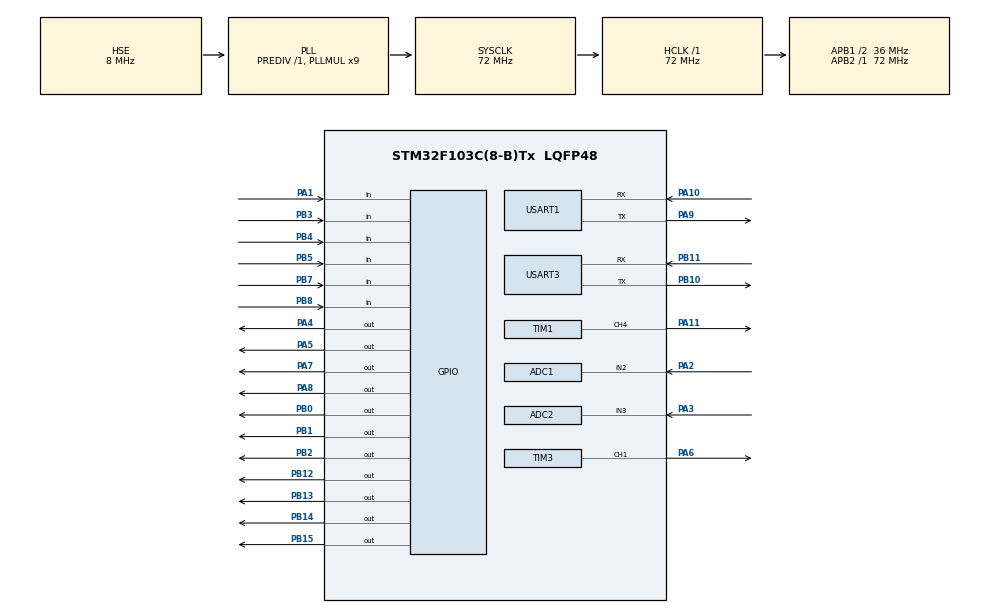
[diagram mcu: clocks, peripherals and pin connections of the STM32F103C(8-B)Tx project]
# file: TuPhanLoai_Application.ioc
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ADC1.Channel-3\#ChannelRegularConversion=ADC_CHANNEL_2
ADC1.ContinuousConvMode=ENABLE
ADC1.NbrOfConversionFlag=1
ADC1.Rank-3\#ChannelRegularConversion=1
ADC1.SamplingTime-3\#ChannelRegularConversion=ADC_SAMPLETIME_239CYCLES_5
ADC1.master=1
ADC2.Channel-2\#ChannelRegularConversion=ADC_CHANNEL_3
ADC2.ContinuousConvMode=ENABLE
ADC2.NbrOfConversionFlag=1
ADC2.Rank-2\#ChannelRegularConversion=1
ADC2.SamplingTime-2\#ChannelRegularConversion=ADC_SAMPLETIME_239CYCLES_5
Dma.Request0=USART1_RX
Dma.USART1_RX.0.Direction=DMA_PERIPH_TO_MEMORY
Dma.USART1_RX.0.Instance=DMA1_Channel5
Dma.USART1_RX.0.MemDataAlignment=DMA_MDATAALIGN_BYTE
Dma.USART1_RX.0.MemInc=DMA_MINC_ENABLE
Dma.USART1_RX.0.Mode=DMA_NORMAL
Dma.USART1_RX.0.PeriphDataAlignment=DMA_PDATAALIGN_BYTE
Dma.USART1_RX.0.PeriphInc=DMA_PINC_DISABLE
Dma.USART1_RX.0.Priority=DMA_PRIORITY_LOW
Mcu.Family=STM32F1
Mcu.Name=STM32F103C(8-B)Tx
Mcu.Package=LQFP48
NVIC.DMA1_Channel5_IRQn=true\:0\:0\:false\:false\:true\:false\:true\:true
NVIC.PriorityGroup=NVIC_PRIORITYGROUP_4
NVIC.TIM3_IRQn=true\:0\:0\:false\:false\:true\:true\:true\:true
NVIC.USART1_IRQn=true\:1\:0\:true\:false\:true\:true\:true\:true
PA1.Signal=GPIO_Input
PA10.Mode=Asynchronous
PA10.Signal=USART1_RX
PA11.Signal=S_TIM1_CH4
PA13.Mode=Serial_Wire
PA13.Signal=SYS_JTMS-SWDIO
PA14.Mode=Serial_Wire
PA14.Signal=SYS_JTCK-SWCLK
PA2.Signal=ADCx_IN2
PA3.Signal=ADCx_IN3
PA4.Signal=GPIO_Output
PA5.Signal=GPIO_Output
PA6.Signal=S_TIM3_CH1
PA7.GPIO_PuPd=GPIO_PULLUP
PA7.Signal=GPIO_Output
PA8.Signal=GPIO_Output
PA9.Mode=Asynchronous
PA9.Signal=USART1_TX
PB0.Signal=GPIO_Output
PB1.Signal=GPIO_Output
PB10.Mode=Asynchronous
PB10.Signal=USART3_TX
PB11.Mode=Asynchronous
PB11.Signal=USART3_RX
PB12.Signal=GPIO_Output
PB13.Signal=GPIO_Output
PB14.GPIO_PuPd=GPIO_PULLUP
PB14.Signal=GPIO_Output
PB15.GPIO_PuPd=GPIO_PULLUP
PB15.Signal=GPIO_Output
PB2.Signal=GPIO_Output
PB3.GPIO_PuPd=GPIO_PULLDOWN
PB3.Signal=GPIO_Input
PB4.GPIO_PuPd=GPIO_PULLDOWN
PB4.Signal=GPIO_Input
PB5.GPIO_PuPd=GPIO_PULLDOWN
PB5.Signal=GPIO_Input
PB7.GPIO_PuPd=GPIO_PULLDOWN
PB7.Signal=GPIO_Input
PB8.GPIO_PuPd=GPIO_PULLDOWN
PB8.Signal=GPIO_Input
PD0-OSC_IN.Mode=HSE-External-Oscillator
PD0-OSC_IN.Signal=RCC_OSC_IN
PD1-OSC_OUT.Mode=HSE-External-Oscillator
PD1-OSC_OUT.Signal=RCC_OSC_OUT
ProjectManager.HeapSize=0x200
ProjectManager.StackSize=0x400
ProjectManager.TargetToolchain=MDK-ARM V5.32
RCC.ADCPresc=RCC_ADCPCLK2_DIV6
RCC.AHBFreq_Value=72000000
RCC.APB1CLKDivider=RCC_HCLK_DIV2
RCC.APB1Freq_Value=36000000
RCC.APB1TimFreq_Value=72000000
RCC.APB2Freq_Value=72000000
RCC.APB2TimFreq_Value=72000000
RCC.HCLKFreq_Value=72000000
RCC.PLLMUL=RCC_PLL_MUL9
RCC.PLLSourceVirtual=RCC_PLLSOURCE_HSE
RCC.SYSCLKFreq_VALUE=72000000
RCC.SYSCLKSource=RCC_SYSCLKSOURCE_PLLCLK
RCC.USBFreq_Value=72000000
SH.ADCx_IN2.0=ADC1_IN2,IN2
SH.ADCx_IN3.0=ADC2_IN3,IN3
SH.S_TIM1_CH4.0=TIM1_CH4,PWM Generation4 CH4
SH.S_TIM3_CH1.0=TIM3_CH1,PWM Generation1 CH1
TIM1.Channel-PWM\ Generation4\ CH4=TIM_CHANNEL_4
TIM3.Channel-PWM\ Generation1\ CH1=TIM_CHANNEL_1
USART1.VirtualMode=VM_ASYNC
USART3.VirtualMode=VM_ASYNC
board=custom

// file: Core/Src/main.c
/* USER CODE BEGIN Header */
/**
  ******************************************************************************
  * @file           : main.c
  * @brief          : Main program body
  ******************************************************************************
  * @attention
  *
  * Copyright (c) 2024 STMicroelectronics.
  * All rights reserved.
  *
  * This software is licensed under terms that can be found in the LICENSE file
  * in the root directory of this software component.
  * If no LICENSE file comes with this software, it is provided AS-IS.
  *
  ******************************************************************************
  */
/* USER CODE END Header */
#include "main.h"

/* USER CODE BEGIN Includes */
#include "BSP_Step.h"
#include "BTS7960_driver.h"
#include "led5050.h"
#include "Sensor.h"
#include "BSP_UART.h"
#include "stdbool.h"
#include "stdio.h"
#define SETP_TOCDO_COGIAMTOC 14*15
/* USER CODE END Includes */

ADC_HandleTypeDef hadc1;
ADC_HandleTypeDef hadc2;

TIM_HandleTypeDef htim1;
TIM_HandleTypeDef htim3;

UART_HandleTypeDef huart1;
UART_HandleTypeDef huart3;
DMA_HandleTypeDef hdma_usart1_rx;

void SystemClock_Config(void);
static void MX_GPIO_Init(void);
static void MX_DMA_Init(void);
static void MX_USART1_UART_Init(void);
static void MX_TIM1_Init(void);
static void MX_TIM3_Init(void);
static void MX_ADC1_Init(void);
static void MX_ADC2_Init(void);
static void MX_USART3_UART_Init(void);

/* USER CODE BEGIN 0 */
uint8_t step = 0;
int countBottle = 0;
int countCan = 0;
uint32_t Timer_Count = 0, Step7_Timer_Count = 0;
uint32_t Prev_Timer_Count = 0, Step7_Prev_Timer_Count = 0;
int ErrorCount = 0;
uint32_t DC_Driver_CurTime = 0;
uint32_t DC_Driver_PrevTime = 0;
bool DC_Driver_Go_Middle = false;
bool UART_Available = false;
bool CanOrBottle = false;
bool HanhTrinhStep = false;
bool DC_OPERATING = false;
float checkADC =0, checkADC2=0;
bool test0 = false, test1 = false;
uint8_t data_rx[22];

void HAL_UART_RxCpltCallback(UART_HandleTypeDef *huart) {
	if (huart->Instance == huart1.Instance) {
		HAL_UART_Receive_IT(&huart1, data_rx, 22);
	}
}

uint8_t checkLength(void) {
	if(data_rx[6] == 'P' && data_rx[7] == 'L') {
		return 8;
	}
	else {
		return 22;
	}
}

void resetDataRx(void) {
	for(int i = 0; i < 22; i++) {
		data_rx[i] = 0;
	}
}

/* USER CODE END 0 */

int main(void)
{

  /* MCU Configuration--------------------------------------------------------*/

  /* Reset of all peripherals, Initializes the Flash interface and the Systick. */
  HAL_Init();

  /* USER CODE BEGIN Init */
	Timer_Count = HAL_GetTick();
  /* USER CODE END Init */

  /* Configure the system clock */
  SystemClock_Config();

  /* Initialize all configured peripherals */
  MX_GPIO_Init();
  MX_DMA_Init();
  MX_USART1_UART_Init();
  MX_TIM1_Init();
  MX_TIM3_Init();
  MX_ADC1_Init();
  MX_ADC2_Init();
  MX_USART3_UART_Init();
  /* USER CODE BEGIN 2 */
	STEP_GPIO_Init();
	STEP_PUL_Init(&htim3, 20);

	set_StepRotateAngle(90);
//	set_StepSpeed(&htim3, 10);
	change_StepDirect(CW);

	DC_Driver_PWM_Init();
	DC_Driver_SetDir(CLOCKWISE);
	DC_Driver_SetSpeed(80);
	HAL_UART_Receive_IT(&huart1, data_rx, 22);
	STEP_Enable();
  /* USER CODE END 2 */

  /* Infinite loop */
  while (1)
  {

    /* USER CODE BEGIN 3 */
    switch(step) {
				case 0:
						DC_Driver_Stop();
						DC_Driver_SetDir(CLOCKWISE);
						STEP_Disable();

						HAL_GPIO_WritePin(GPIOB, GPIO_PIN_13, GPIO_PIN_RESET);

						//Renew information
						ErrorCount = 0;
						countBottle = 0;
						countCan = 0;
						Timer_Count = 0;

						DC_Driver_Go_Middle = false;
						HanhTrinhStep = false;

						Led_All_Off();
						HAL_Delay(200);

//						if(test0 == false) {
//								step = 1;
//						}
						if (data_rx[0] == 'T' && data_rx[1] == 'D' && data_rx[6] == 'P' && data_rx[7] == 'L') {
							if (data_rx[2] == '0' && data_rx[3] == '1' && data_rx[4] == '1' && data_rx[5] == '1' ) {
								step = 1;
							}
						}
						break;

				case 1:
					//STEP
					STEP_Enable();
					//DC Motor
					for(uint8_t i = 0; i < 8 ; i++) {
									data_rx[i] = 0;
					}
						change_StepDirect(CW);
						goHomeStep(&htim3);

					DC_Driver_Go_Middle = false;
					DC_Driver_Stop();
					DC_Driver_SetDir(CLOCKWISE);
//					if(HAL_GPIO_ReadPin(GPIOB, GPIO_PIN_8) == 0)
//					{
//						goHomeStep(&htim3);
//					}
					//UART
					UART_Available = false;

				  //LED
//					HAL_GPIO_WritePin(GPIOB, GPIO_PIN_13, GPIO_PIN_SET);//BAT_DEN_VONG_CAMERA;
					Led_Red_Off();
					Led_Yellow_Off();
					Led_Green_On();

					while(UART_Available == false) {
						Timer_Count = HAL_GetTick();
						checkADC=Read_ADC_Value(2);
						checkADC2=Read_ADC_Value(1);
						if(HAL_GPIO_ReadPin(GPIOB,GPIO_PIN_8) == 1){
							stop_Step(&htim3);
						}

						if(Read_ADC_Value(2) >= 1.7) {
							HAL_Delay(1000);
							if(Read_ADC_Value(2) >= 1.7) {
								step = 2;
								UART_Available = true;
							}
						}
						else if((Timer_Count - Prev_Timer_Count > 30000) && (countBottle != 0 || countCan != 0)) {
							Prev_Timer_Count = Timer_Count;
							step = 6;
//							for(uint8_t i = 0; i < 8 ; i++) {
//								data_rx[i] = 0;
//							}
							UART_Available = true;
						}
						else if ((Timer_Count - Prev_Timer_Count > 30000) && countCan == 0 && countBottle == 0) {
							Prev_Timer_Count = Timer_Count;
							step = 0;
//							for(uint8_t i = 0; i < 8 ; i++) {
//								data_rx[i] = 0;
//							}
							UART_Available = true;
						}
						else if(data_rx[0] == 'T' && data_rx[1] == 'D' && data_rx[6] == 'P' && data_rx[7] == 'L') {
							if (data_rx[2] == '1' && data_rx[3] == '2' && data_rx[4] == '1' && data_rx[5] == '1' ) {
								step = 6;
//								for(uint8_t i = 0; i < 8 ; i++) {
//									data_rx[i] = 0;
//								}
								UART_Available = true;
							}
						}
					}
					break;

				case 2:
						UART_Available = false;
						Led_Green_Off();
						Led_Yellow_On();
//						UART_sendTakePictureRequest(&huart1);
						if(Read_Sensor(3)) { // sensor capacitor
							HAL_Delay(50);
							if(Read_Sensor(3)) {
							step = 3;
							countCan++;
							CanOrBottle = true;
							}
							} else {
							HAL_Delay(50);
							step = 3;
							countBottle++;
							CanOrBottle = false;
						}

						//if() {
						//  step = 7;//error
						//}
						break;

				case 3:
						DC_Driver_Run();
						DC_OPERATING = true;
						DC_Driver_CurTime = HAL_GetTick();
						DC_Driver_PrevTime = DC_Driver_CurTime;
						while(DC_OPERATING == true) {
							DC_Driver_CurTime = HAL_GetTick();
							while(DC_Driver_Go_Middle == false){
								checkADC=Read_ADC_Value(2);
								checkADC2=Read_ADC_Value(1);
								if(Read_ADC_Value(2) < 1.7) {
									HAL_Delay(50);
									if(Read_ADC_Value(2) < 1.7) {
										HAL_Delay(750);
										DC_Driver_Go_Middle = true;
									}
								}
							}

							if(Read_ADC_Value(1) >= 1.7) {
								HAL_Delay(50);
								if(Read_ADC_Value(1) >= 1.7) {
										step = 4;
										DC_Driver_PrevTime = DC_Driver_CurTime;
										DC_OPERATING = false;
								}
							}

							if(Read_ADC_Value(2) >= 1.7) {
								HAL_Delay(2);
								if(Read_ADC_Value(2) >= 1.7) {
									step = 7;
									DC_OPERATING = false;
								}
							}

							if(DC_Driver_CurTime - DC_Driver_PrevTime >= DC_TIMEOUT) {
								step = 7;
								DC_Driver_PrevTime = DC_Driver_CurTime;
								DC_OPERATING = false;
							}
						}
						break;

				case 4:
						HAL_Delay(150);
						DC_Driver_Stop();
						if(CanOrBottle)
						{
							change_StepDirect(CW);
							set_StepRotateAngle(90);
//							do{
//								DC_Driver_Run();
//							}while(Read_ADC_Value(1) >= 1.7);
							run_Step(&htim3);
							HAL_Delay(500);
//							DC_Driver_Stop();
							step = 5;
						}
						else
						{
							change_StepDirect(CW);
							set_StepRotateAngle(90);
							do{
								DC_Driver_Run();
							}while(Read_ADC_Value(1) >= 1.7);
							HAL_Delay(2000);
							DC_Driver_Stop();
							//run_Step(&htim3);
							HAL_Delay(1000);
							step = 5;
						}
						break;

				case 5:
						//UART_sendCompleteStatus(&huart1, countBottle, countCan, ErrorCount); //GUI_TIN_HIEU_UPDATE_GIAO_DIEN;
						if(CanOrBottle) {
							HAL_UART_Transmit(&huart1,(uint8_t *)"TD3111PL" , 8, 100);
						}
						else if (CanOrBottle == false) {
							HAL_UART_Transmit(&huart1, (uint8_t *)"TD3000PL", 8, 100);
						}
						Prev_Timer_Count = HAL_GetTick();
						HAL_Delay(1000);
						Led_All_Off();
						step = 1;
						break;

				case 6:
						Led_All_Off();
						step = 0;
						break;

				case 7:
						Led_Yellow_Off();
						Led_Red_On();
						UART_sendErrorInfor(&huart1); //GUI_TIN_HIEU_CANH_BAO_VE_MAY_TINH;
						HAL_UART_Transmit(&huart1, (uint8_t *)"TD7111PL", 8, 100);
						DC_Driver_SetDir(COUNTERCLOCKWISE);
						DC_Driver_Run();

						//Update timer timeout
						Step7_Prev_Timer_Count = HAL_GetTick();
						Step7_Timer_Count = Step7_Prev_Timer_Count;

						while(UART_Available == false) {
							Step7_Timer_Count = HAL_GetTick();
							if(data_rx[0] == 'T' && data_rx[1] == 'D' && data_rx[6] == 'P' && data_rx[7] == 'L') {
								if(data_rx[2] == '0' && data_rx[3] == '1' && data_rx[4] == '1' && data_rx[5] == '1' ) {
									step = 1;
									ErrorCount++;
									UART_Available = true;
								}
							}

							else if(data_rx[0] == 'T' && data_rx[1] == 'D' && data_rx[6] == 'P' && data_rx[7] == 'L') {
								if(data_rx[2] == '1' && data_rx[3] == '2' && data_rx[4] == '1' && data_rx[5] == '1' ) {
									step = 0;
									UART_Available = true;
								}
							}

							else if (Step7_Timer_Count - Step7_Prev_Timer_Count > 15000) {
								step = 1;
								UART_Available = true;
							}
						}
					break;

				case 8:
					break;

				default:
					break;

       }
	}

  /* USER CODE END 3 */
}

void SystemClock_Config(void)
{
  RCC_OscInitTypeDef RCC_OscInitStruct = {0};
  RCC_ClkInitTypeDef RCC_ClkInitStruct = {0};
  RCC_PeriphCLKInitTypeDef PeriphClkInit = {0};

  /** Initializes the RCC Oscillators according to the specified parameters
  * in the RCC_OscInitTypeDef structure.
  */
  RCC_OscInitStruct.OscillatorType = RCC_OSCILLATORTYPE_HSE;
  RCC_OscInitStruct.HSEState = RCC_HSE_ON;
  RCC_OscInitStruct.HSEPredivValue = RCC_HSE_PREDIV_DIV1;
  RCC_OscInitStruct.HSIState = RCC_HSI_ON;
  RCC_OscInitStruct.PLL.PLLState = RCC_PLL_ON;
  RCC_OscInitStruct.PLL.PLLSource = RCC_PLLSOURCE_HSE;
  RCC_OscInitStruct.PLL.PLLMUL = RCC_PLL_MUL9;
  if (HAL_RCC_OscConfig(&RCC_OscInitStruct) != HAL_OK)
  {
    Error_Handler();
  }

  /** Initializes the CPU, AHB and APB buses clocks
  */
  RCC_ClkInitStruct.ClockType = RCC_CLOCKTYPE_HCLK|RCC_CLOCKTYPE_SYSCLK
                              |RCC_CLOCKTYPE_PCLK1|RCC_CLOCKTYPE_PCLK2;
  RCC_ClkInitStruct.SYSCLKSource = RCC_SYSCLKSOURCE_PLLCLK;
  RCC_ClkInitStruct.AHBCLKDivider = RCC_SYSCLK_DIV1;
  RCC_ClkInitStruct.APB1CLKDivider = RCC_HCLK_DIV2;
  RCC_ClkInitStruct.APB2CLKDivider = RCC_HCLK_DIV1;

  if (HAL_RCC_ClockConfig(&RCC_ClkInitStruct, FLASH_LATENCY_2) != HAL_OK)
  {
    Error_Handler();
  }
  PeriphClkInit.PeriphClockSelection = RCC_PERIPHCLK_ADC;
  PeriphClkInit.AdcClockSelection = RCC_ADCPCLK2_DIV6;
  if (HAL_RCCEx_PeriphCLKConfig(&PeriphClkInit) != HAL_OK)
  {
    Error_Handler();
  }
}

static void MX_ADC1_Init(void)
{

  ADC_ChannelConfTypeDef sConfig = {0};

  /** Common config
  */
  hadc1.Instance = ADC1;
  hadc1.Init.ScanConvMode = ADC_SCAN_DISABLE;
  hadc1.Init.ContinuousConvMode = ENABLE;
  hadc1.Init.DiscontinuousConvMode = DISABLE;
  hadc1.Init.ExternalTrigConv = ADC_SOFTWARE_START;
  hadc1.Init.DataAlign = ADC_DATAALIGN_RIGHT;
  hadc1.Init.NbrOfConversion = 1;
  if (HAL_ADC_Init(&hadc1) != HAL_OK)
  {
    Error_Handler();
  }

  /** Configure Regular Channel
  */
  sConfig.Channel = ADC_CHANNEL_2;
  sConfig.Rank = ADC_REGULAR_RANK_1;
  sConfig.SamplingTime = ADC_SAMPLETIME_239CYCLES_5;
  if (HAL_ADC_ConfigChannel(&hadc1, &sConfig) != HAL_OK)
  {
    Error_Handler();
  }

}

static void MX_ADC2_Init(void)
{

  ADC_ChannelConfTypeDef sConfig = {0};

  /** Common config
  */
  hadc2.Instance = ADC2;
  hadc2.Init.ScanConvMode = ADC_SCAN_DISABLE;
  hadc2.Init.ContinuousConvMode = ENABLE;
  hadc2.Init.DiscontinuousConvMode = DISABLE;
  hadc2.Init.ExternalTrigConv = ADC_SOFTWARE_START;
  hadc2.Init.DataAlign = ADC_DATAALIGN_RIGHT;
  hadc2.Init.NbrOfConversion = 1;
  if (HAL_ADC_Init(&hadc2) != HAL_OK)
  {
    Error_Handler();
  }

  /** Configure Regular Channel
  */
  sConfig.Channel = ADC_CHANNEL_3;
  sConfig.Rank = ADC_REGULAR_RANK_1;
  sConfig.SamplingTime = ADC_SAMPLETIME_239CYCLES_5;
  if (HAL_ADC_ConfigChannel(&hadc2, &sConfig) != HAL_OK)
  {
    Error_Handler();
  }

}

static void MX_TIM1_Init(void)
{

  TIM_MasterConfigTypeDef sMasterConfig = {0};
  TIM_OC_InitTypeDef sConfigOC = {0};
  TIM_BreakDeadTimeConfigTypeDef sBreakDeadTimeConfig = {0};

  htim1.Instance = TIM1;
  htim1.Init.Prescaler = 0;
  htim1.Init.CounterMode = TIM_COUNTERMODE_UP;
  htim1.Init.Period = 65535;
  htim1.Init.ClockDivision = TIM_CLOCKDIVISION_DIV1;
  htim1.Init.RepetitionCounter = 0;
  htim1.Init.AutoReloadPreload = TIM_AUTORELOAD_PRELOAD_DISABLE;
  if (HAL_TIM_PWM_Init(&htim1) != HAL_OK)
  {
    Error_Handler();
  }
  sMasterConfig.MasterOutputTrigger = TIM_TRGO_RESET;
  sMasterConfig.MasterSlaveMode = TIM_MASTERSLAVEMODE_DISABLE;
  if (HAL_TIMEx_MasterConfigSynchronization(&htim1, &sMasterConfig) != HAL_OK)
  {
    Error_Handler();
  }
  sConfigOC.OCMode = TIM_OCMODE_PWM1;
  sConfigOC.Pulse = 0;
  sConfigOC.OCPolarity = TIM_OCPOLARITY_HIGH;
  sConfigOC.OCFastMode = TIM_OCFAST_DISABLE;
  sConfigOC.OCIdleState = TIM_OCIDLESTATE_RESET;
  sConfigOC.OCNIdleState = TIM_OCNIDLESTATE_RESET;
  if (HAL_TIM_PWM_ConfigChannel(&htim1, &sConfigOC, TIM_CHANNEL_4) != HAL_OK)
  {
    Error_Handler();
  }
  sBreakDeadTimeConfig.OffStateRunMode = TIM_OSSR_DISABLE;
  sBreakDeadTimeConfig.OffStateIDLEMode = TIM_OSSI_DISABLE;
  sBreakDeadTimeConfig.LockLevel = TIM_LOCKLEVEL_OFF;
  sBreakDeadTimeConfig.DeadTime = 0;
  sBreakDeadTimeConfig.BreakState = TIM_BREAK_DISABLE;
  sBreakDeadTimeConfig.BreakPolarity = TIM_BREAKPOLARITY_HIGH;
  sBreakDeadTimeConfig.AutomaticOutput = TIM_AUTOMATICOUTPUT_DISABLE;
  if (HAL_TIMEx_ConfigBreakDeadTime(&htim1, &sBreakDeadTimeConfig) != HAL_OK)
  {
    Error_Handler();
  }
  HAL_TIM_MspPostInit(&htim1);

}

static void MX_TIM3_Init(void)
{

  TIM_MasterConfigTypeDef sMasterConfig = {0};
  TIM_OC_InitTypeDef sConfigOC = {0};

  htim3.Instance = TIM3;
  htim3.Init.Prescaler = 0;
  htim3.Init.CounterMode = TIM_COUNTERMODE_UP;
  htim3.Init.Period = 65535;
  htim3.Init.ClockDivision = TIM_CLOCKDIVISION_DIV1;
  htim3.Init.AutoReloadPreload = TIM_AUTORELOAD_PRELOAD_DISABLE;
  if (HAL_TIM_PWM_Init(&htim3) != HAL_OK)
  {
    Error_Handler();
  }
  sMasterConfig.MasterOutputTrigger = TIM_TRGO_RESET;
  sMasterConfig.MasterSlaveMode = TIM_MASTERSLAVEMODE_DISABLE;
  if (HAL_TIMEx_MasterConfigSynchronization(&htim3, &sMasterConfig) != HAL_OK)
  {
    Error_Handler();
  }
  sConfigOC.OCMode = TIM_OCMODE_PWM1;
  sConfigOC.Pulse = 0;
  sConfigOC.OCPolarity = TIM_OCPOLARITY_HIGH;
  sConfigOC.OCFastMode = TIM_OCFAST_DISABLE;
  if (HAL_TIM_PWM_ConfigChannel(&htim3, &sConfigOC, TIM_CHANNEL_1) != HAL_OK)
  {
    Error_Handler();
  }
  HAL_TIM_MspPostInit(&htim3);

}

static void MX_USART1_UART_Init(void)
{

  huart1.Instance = USART1;
  huart1.Init.BaudRate = 115200;
  huart1.Init.WordLength = UART_WORDLENGTH_8B;
  huart1.Init.StopBits = UART_STOPBITS_1;
  huart1.Init.Parity = UART_PARITY_NONE;
  huart1.Init.Mode = UART_MODE_TX_RX;
  huart1.Init.HwFlowCtl = UART_HWCONTROL_NONE;
  huart1.Init.OverSampling = UART_OVERSAMPLING_16;
  if (HAL_UART_Init(&huart1) != HAL_OK)
  {
    Error_Handler();
  }

}

static void MX_USART3_UART_Init(void)
{

  huart3.Instance = USART3;
  huart3.Init.BaudRate = 115200;
  huart3.Init.WordLength = UART_WORDLENGTH_8B;
  huart3.Init.StopBits = UART_STOPBITS_1;
  huart3.Init.Parity = UART_PARITY_NONE;
  huart3.Init.Mode = UART_MODE_TX_RX;
  huart3.Init.HwFlowCtl = UART_HWCONTROL_NONE;
  huart3.Init.OverSampling = UART_OVERSAMPLING_16;
  if (HAL_UART_Init(&huart3) != HAL_OK)
  {
    Error_Handler();
  }

}

static void MX_DMA_Init(void)
{

  /* DMA controller clock enable */
  __HAL_RCC_DMA1_CLK_ENABLE();

  /* DMA interrupt init */
  /* DMA1_Channel5_IRQn interrupt configuration */
  HAL_NVIC_SetPriority(DMA1_Channel5_IRQn, 0, 0);
  HAL_NVIC_EnableIRQ(DMA1_Channel5_IRQn);

}

static void MX_GPIO_Init(void)
{
  GPIO_InitTypeDef GPIO_InitStruct = {0};

  /* GPIO Ports Clock Enable */
  __HAL_RCC_GPIOD_CLK_ENABLE();
  __HAL_RCC_GPIOA_CLK_ENABLE();
  __HAL_RCC_GPIOB_CLK_ENABLE();

  /*Configure GPIO pin Output Level */
  HAL_GPIO_WritePin(GPIOA, GPIO_PIN_4|GPIO_PIN_5|GPIO_PIN_7|GPIO_PIN_8, GPIO_PIN_RESET);

  /*Configure GPIO pin Output Level */
  HAL_GPIO_WritePin(GPIOB, GPIO_PIN_0|GPIO_PIN_1|GPIO_PIN_2|GPIO_PIN_12
                          |GPIO_PIN_13|GPIO_PIN_14|GPIO_PIN_15, GPIO_PIN_RESET);

  /*Configure GPIO pin : PA1 */
  GPIO_InitStruct.Pin = GPIO_PIN_1;
  GPIO_InitStruct.Mode = GPIO_MODE_INPUT;
  GPIO_InitStruct.Pull = GPIO_NOPULL;
  HAL_GPIO_Init(GPIOA, &GPIO_InitStruct);

  /*Configure GPIO pins : PA4 PA5 PA8 */
  GPIO_InitStruct.Pin = GPIO_PIN_4|GPIO_PIN_5|GPIO_PIN_8;
  GPIO_InitStruct.Mode = GPIO_MODE_OUTPUT_PP;
  GPIO_InitStruct.Pull = GPIO_NOPULL;
  GPIO_InitStruct.Speed = GPIO_SPEED_FREQ_LOW;
  HAL_GPIO_Init(GPIOA, &GPIO_InitStruct);

  /*Configure GPIO pin : PA7 */
  GPIO_InitStruct.Pin = GPIO_PIN_7;
  GPIO_InitStruct.Mode = GPIO_MODE_OUTPUT_PP;
  GPIO_InitStruct.Pull = GPIO_PULLUP;
  GPIO_InitStruct.Speed = GPIO_SPEED_FREQ_LOW;
  HAL_GPIO_Init(GPIOA, &GPIO_InitStruct);

  /*Configure GPIO pins : PB0 PB1 PB2 PB12
                           PB13 */
  GPIO_InitStruct.Pin = GPIO_PIN_0|GPIO_PIN_1|GPIO_PIN_2|GPIO_PIN_12
                          |GPIO_PIN_13;
  GPIO_InitStruct.Mode = GPIO_MODE_OUTPUT_PP;
  GPIO_InitStruct.Pull = GPIO_NOPULL;
  GPIO_InitStruct.Speed = GPIO_SPEED_FREQ_LOW;
  HAL_GPIO_Init(GPIOB, &GPIO_InitStruct);

  /*Configure GPIO pins : PB14 PB15 */
  GPIO_InitStruct.Pin = GPIO_PIN_14|GPIO_PIN_15;
  GPIO_InitStruct.Mode = GPIO_MODE_OUTPUT_PP;
  GPIO_InitStruct.Pull = GPIO_PULLUP;
  GPIO_InitStruct.Speed = GPIO_SPEED_FREQ_LOW;
  HAL_GPIO_Init(GPIOB, &GPIO_InitStruct);

  /*Configure GPIO pins : PB3 PB4 PB5 PB7
                           PB8 */
  GPIO_InitStruct.Pin = GPIO_PIN_3|GPIO_PIN_4|GPIO_PIN_5|GPIO_PIN_7
                          |GPIO_PIN_8;
  GPIO_InitStruct.Mode = GPIO_MODE_INPUT;
  GPIO_InitStruct.Pull = GPIO_PULLDOWN;
  HAL_GPIO_Init(GPIOB, &GPIO_InitStruct);

}

void Error_Handler(void)
{
  __disable_irq();
  while (1)
  {
  }
}
